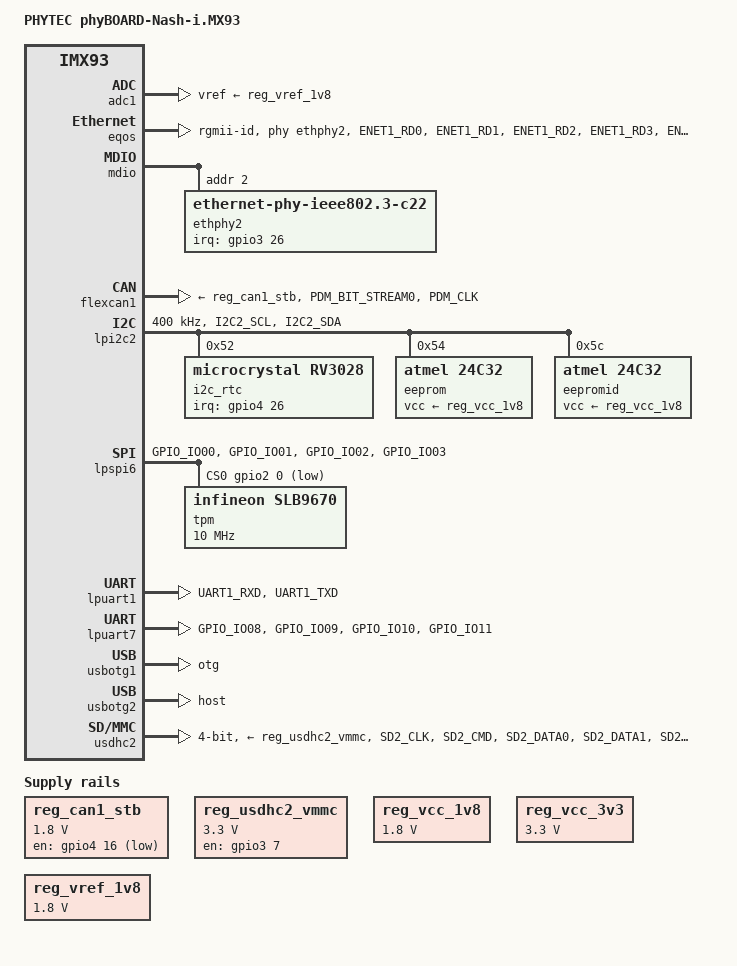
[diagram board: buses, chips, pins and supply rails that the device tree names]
// SPDX-License-Identifier: (GPL-2.0+ OR MIT)
/*
 * Copyright (C) 2023 PHYTEC Messtechnik GmbH
 * Author: Primoz Fiser <primoz.fiser@norik.com>
 */

/dts-v1/;

#include <dt-bindings/net/ti-dp83867.h>
#include "imx93-phycore-som.dtsi"

/ {
	model = "PHYTEC phyBOARD-Nash-i.MX93";
	compatible = "phytec,imx93-phyboard-nash",
		     "phytec,imx93-phycore-som", "fsl,imx93";

	aliases {
		rtc0 = &i2c_rtc;
		rtc1 = &bbnsm_rtc;
	};

	chosen {
		stdout-path = &lpuart1;
	};

	reg_can1_stb: regulator-can1-stb {
		compatible = "regulator-fixed";
		gpio = <&gpio4 16 GPIO_ACTIVE_LOW>;
		enable-active-low;
		pinctrl-names = "default";
		pinctrl-0 = <&pinctrl_reg_can1_stb>;
		regulator-max-microvolt = <1800000>;
		regulator-min-microvolt = <1800000>;
		regulator-name = "CAN1_STB";
	};

	reg_usdhc2_vmmc: regulator-usdhc2 {
		compatible = "regulator-fixed";
		gpio = <&gpio3 7 GPIO_ACTIVE_HIGH>;
		enable-active-high;
		pinctrl-names = "default";
		pinctrl-0 = <&pinctrl_reg_usdhc2_vmmc>;
		regulator-max-microvolt = <3300000>;
		regulator-min-microvolt = <3300000>;
		regulator-name = "VCC_SD";
	};

	reg_vcc_1v8: regulator-vcc-1v8 {
		compatible = "regulator-fixed";
		regulator-max-microvolt = <1800000>;
		regulator-min-microvolt = <1800000>;
		regulator-name = "VCC1V8";
	};

	reg_vcc_3v3: regulator-vcc-3v3 {
		compatible = "regulator-fixed";
		regulator-max-microvolt = <3300000>;
		regulator-min-microvolt = <3300000>;
		regulator-name = "VCC3V3";
	};

	reg_vref_1v8: regulator-adc-vref {
		compatible = "regulator-fixed";
		regulator-name = "VREF_1V8";
		regulator-min-microvolt = <1800000>;
		regulator-max-microvolt = <1800000>;
	};
};

/* ADC */
&adc1 {
	/* 1.8V */
	vref-supply = <&reg_vref_1v8>;
	status = "okay";
};

/* Power-key */
&bbnsm_pwrkey {
	linux,keycode = <KEY_POWER>;
	wakeup-source;
};

/* Ethernet */
&eqos {
	phy-mode = "rgmii-id";
	phy-handle = <&ethphy2>;
	pinctrl-names = "default";
	pinctrl-0 = <&pinctrl_eqos>;
	status = "okay";
};

&mdio {
	ethphy2: ethernet-phy@2 {
		compatible = "ethernet-phy-ieee802.3-c22";
		reg = <2>;
		interrupt-parent = <&gpio3>;
		interrupts = <26 IRQ_TYPE_EDGE_FALLING>;
		ti,rx-internal-delay = <DP83867_RGMIIDCTL_1_75_NS>;
		ti,tx-internal-delay = <DP83867_RGMIIDCTL_2_00_NS>;
		ti,fifo-depth = <DP83867_PHYCR_FIFO_DEPTH_4_B_NIB>;
		ti,clk-output-sel = <DP83867_CLK_O_SEL_OFF>;
	};
};

/* CAN */
&flexcan1 {
	pinctrl-names = "default";
	pinctrl-0 = <&pinctrl_flexcan1>;
	xceiver-supply = <&reg_can1_stb>;
	status = "okay";
};

&lpi2c2 {
	#address-cells = <1>;
	#size-cells = <0>;
	clock-frequency = <400000>;
	pinctrl-names = "default";
	pinctrl-0 = <&pinctrl_lpi2c2>;
	status = "okay";

	/* RTC */
	i2c_rtc: rtc@52 {
		compatible = "microcrystal,rv3028";
		reg = <0x52>;
		pinctrl-names = "default";
		pinctrl-0 = <&pinctrl_rtc>;
		interrupt-parent = <&gpio4>;
		interrupts = <26 IRQ_TYPE_LEVEL_LOW>;
		trickle-resistor-ohms = <3000>;
		wakeup-source;
	};

	/* EEPROM */
	eeprom@54 {
		compatible = "atmel,24c32";
		reg = <0x54>;
		pagesize = <32>;
		vcc-supply = <&reg_vcc_1v8>;
	};

	/* EEPROM ID page */
	eepromid@5c {
		compatible = "atmel,24c32";
		reg = <0x5c>;
		pagesize = <32>;
		size = <32>;
		vcc-supply = <&reg_vcc_1v8>;
	};
};

&lpspi6 {
	pinctrl-names = "default";
	pinctrl-0 = <&pinctrl_lpspi6>;
	cs-gpios = <&gpio2 0 GPIO_ACTIVE_LOW>;
	status = "okay";

	/* TPM */
	tpm@0 {
		compatible = "infineon,slb9670", "tcg,tpm_tis-spi";
		reg = <0>;
		spi-max-frequency = <10000000>;
	};
};

/* Console */
&lpuart1 {
	pinctrl-names = "default";
	pinctrl-0 = <&pinctrl_uart1>;
	status = "okay";
};

/* RS-232/RS-485 */
&lpuart7 {
	pinctrl-names = "default";
	pinctrl-0 = <&pinctrl_uart7>;
	status = "okay";
};

/* USB */
&usbphynop1 {
	vcc-supply = <&buck4>;
};

&usbphynop2 {
	vcc-supply = <&buck4>;
};

&usbotg1 {
	disable-over-current;
	dr_mode = "otg";
	status = "okay";
};

&usbotg2 {
	disable-over-current;
	dr_mode = "host";
	status = "okay";
};

/* SD-Card */
&usdhc2 {
	bus-width = <4>;
	cd-gpios = <&gpio3 00 GPIO_ACTIVE_LOW>;
	disable-wp;
	no-mmc;
	no-sdio;
	pinctrl-names = "default", "state_100mhz", "state_200mhz";
	pinctrl-0 = <&pinctrl_usdhc2_default>, <&pinctrl_usdhc2_cd>;
	pinctrl-1 = <&pinctrl_usdhc2_100mhz>, <&pinctrl_usdhc2_cd>;
	pinctrl-2 = <&pinctrl_usdhc2_200mhz>, <&pinctrl_usdhc2_cd>;
	vmmc-supply = <&reg_usdhc2_vmmc>;
	status = "okay";
};

&iomuxc {
	pinctrl_eqos: eqosgrp {
		fsl,pins = <
			MX93_PAD_ENET1_RD0__ENET_QOS_RGMII_RD0			0x57e
			MX93_PAD_ENET1_RD1__ENET_QOS_RGMII_RD1			0x57e
			MX93_PAD_ENET1_RD2__ENET_QOS_RGMII_RD2			0x57e
			MX93_PAD_ENET1_RD3__ENET_QOS_RGMII_RD3			0x57e
			MX93_PAD_ENET1_RXC__CCM_ENET_QOS_CLOCK_GENERATE_RX_CLK	0x5fe
			MX93_PAD_ENET1_RX_CTL__ENET_QOS_RGMII_RX_CTL		0x57e
			MX93_PAD_ENET1_TD0__ENET_QOS_RGMII_TD0			0x51e
			MX93_PAD_ENET1_TD1__ENET_QOS_RGMII_TD1			0x51e
			MX93_PAD_ENET1_TD2__ENET_QOS_RGMII_TD2			0x50e
			MX93_PAD_ENET1_TD3__ENET_QOS_RGMII_TD3			0x50e
			MX93_PAD_ENET1_TXC__CCM_ENET_QOS_CLOCK_GENERATE_TX_CLK	0x58e
			MX93_PAD_ENET1_TX_CTL__ENET_QOS_RGMII_TX_CTL		0x50e
			MX93_PAD_CCM_CLKO1__GPIO3_IO26				0x1002
		>;
	};

	pinctrl_flexcan1: flexcan1grp {
		fsl,pins = <
			MX93_PAD_PDM_BIT_STREAM0__CAN1_RX	0x139e
			MX93_PAD_PDM_CLK__CAN1_TX		0x139e
		>;
	};

	pinctrl_lpi2c2: lpi2c2grp {
		fsl,pins = <
			MX93_PAD_I2C2_SCL__LPI2C2_SCL		0x40000b9e
			MX93_PAD_I2C2_SDA__LPI2C2_SDA		0x40000b9e
		>;
	};

	pinctrl_lpspi6: lpspi6grp {
		fsl,pins = <
			MX93_PAD_GPIO_IO00__GPIO2_IO00		0x3fe
			MX93_PAD_GPIO_IO01__LPSPI6_SIN		0x3fe
			MX93_PAD_GPIO_IO02__LPSPI6_SOUT		0x3fe
			MX93_PAD_GPIO_IO03__LPSPI6_SCK		0x3fe
		>;
	};

	pinctrl_reg_can1_stb: regcan1stbgrp {
		fsl,pins = <
			MX93_PAD_ENET2_TD3__GPIO4_IO16		0x31e
		>;
	};

	pinctrl_reg_usdhc2_vmmc: regusdhc2vmmcgrp {
		fsl,pins = <
			MX93_PAD_SD2_RESET_B__GPIO3_IO07	0x31e
		>;
	};

	pinctrl_rtc: rtcgrp {
		fsl,pins = <
			MX93_PAD_ENET2_RD2__GPIO4_IO26		0x31e
		>;
	};

	pinctrl_uart1: uart1grp {
		fsl,pins = <
			MX93_PAD_UART1_RXD__LPUART1_RX		0x31e
			MX93_PAD_UART1_TXD__LPUART1_TX		0x30e
		>;
	};

	pinctrl_uart7: uart7grp {
		fsl,pins = <
			MX93_PAD_GPIO_IO08__LPUART7_TX		0x30e
			MX93_PAD_GPIO_IO09__LPUART7_RX		0x31e
			MX93_PAD_GPIO_IO10__LPUART7_CTS_B	0x31e
			MX93_PAD_GPIO_IO11__LPUART7_RTS_B	0x31e
		>;
	};

	pinctrl_usdhc2_cd: usdhc2cdgrp {
		fsl,pins = <
			MX93_PAD_SD2_CD_B__GPIO3_IO00		0x31e
		>;
	};

	/* need to config the SION for data and cmd pad, refer to ERR052021 */
	pinctrl_usdhc2_default: usdhc2grp {
		fsl,pins = <
			MX93_PAD_SD2_CLK__USDHC2_CLK		0x179e
			MX93_PAD_SD2_CMD__USDHC2_CMD		0x4000178e
			MX93_PAD_SD2_DATA0__USDHC2_DATA0	0x40001386
			MX93_PAD_SD2_DATA1__USDHC2_DATA1	0x40001386
			MX93_PAD_SD2_DATA2__USDHC2_DATA2	0x40001386
			MX93_PAD_SD2_DATA3__USDHC2_DATA3	0x4000138e
			MX93_PAD_SD2_VSELECT__USDHC2_VSELECT	0x51e
		>;
	};

	/* need to config the SION for data and cmd pad, refer to ERR052021 */
	pinctrl_usdhc2_100mhz: usdhc2-100mhzgrp {
		fsl,pins = <
			MX93_PAD_SD2_CLK__USDHC2_CLK		0x179e
			MX93_PAD_SD2_CMD__USDHC2_CMD		0x4000139e
			MX93_PAD_SD2_DATA0__USDHC2_DATA0	0x4000139e
			MX93_PAD_SD2_DATA1__USDHC2_DATA1	0x4000139e
			MX93_PAD_SD2_DATA2__USDHC2_DATA2	0x4000139e
			MX93_PAD_SD2_DATA3__USDHC2_DATA3	0x400013be
			MX93_PAD_SD2_VSELECT__USDHC2_VSELECT	0x51e
		>;
	};

	/* need to config the SION for data and cmd pad, refer to ERR052021 */
	pinctrl_usdhc2_200mhz: usdhc2-200mhzgrp {
		fsl,pins = <
			MX93_PAD_SD2_CLK__USDHC2_CLK		0x179e
			MX93_PAD_SD2_CMD__USDHC2_CMD		0x4000139e
			MX93_PAD_SD2_DATA0__USDHC2_DATA0	0x4000139e
			MX93_PAD_SD2_DATA1__USDHC2_DATA1	0x4000139e
			MX93_PAD_SD2_DATA2__USDHC2_DATA2	0x4000139e
			MX93_PAD_SD2_DATA3__USDHC2_DATA3	0x4000139e
			MX93_PAD_SD2_VSELECT__USDHC2_VSELECT	0x51e
		>;
	};
};
